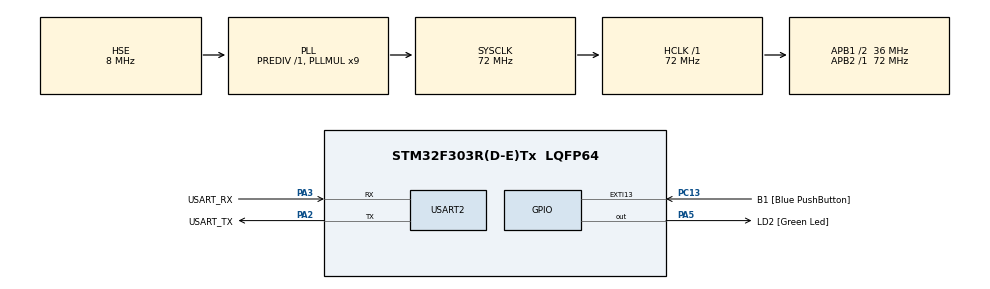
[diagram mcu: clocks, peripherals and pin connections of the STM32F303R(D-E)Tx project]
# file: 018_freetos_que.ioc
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Mcu.Family=STM32F3
RCC.PLLSourceVirtual=RCC_PLLSOURCE_HSE
PC15-OSC32_OUT.Mode=LSE-External-Oscillator
PA2.GPIO_PuPd=GPIO_NOPULL
FREERTOS.Queues01=myQueue01,16,uint16_t,0,Dynamic,NULL,NULL
RCC.CortexFreq_Value=72000000
FREERTOS.Tasks01=defaultTask,0,128,StartDefaultTask,Default,NULL,Dynamic,NULL,NULL;myTask02,0,128,StartTask02,Default,NULL,Dynamic,NULL,NULL
PC13.Signal=GPXTI13
PA14.GPIO_Label=TCK
RCC.SYSCLKSourceVirtual=RCC_SYSCLKSOURCE_PLLCLK
PA3.GPIO_PuPd=GPIO_NOPULL
PA2.GPIO_Speed=GPIO_SPEED_FREQ_LOW
PC13.GPIO_Label=B1 [Blue PushButton]
RCC.APB1CLKDivider=RCC_HCLK_DIV2
PC14-OSC32_IN.Signal=RCC_OSC32_IN
PA3.GPIO_Speed=GPIO_SPEED_FREQ_LOW
ProjectManager.StackSize=0x400
PA13.Signal=SYS_JTMS-SWDIO
PA3.Mode=Asynchronous
ProjectManager.TargetToolchain=STM32CubeIDE
PA3.GPIO_Mode=GPIO_MODE_AF_PP
RCC.HCLKFreq_Value=72000000
RCC.APB2TimFreq_Value=72000000
RCC.USBFreq_Value=72000000
PC15-OSC32_OUT.Signal=RCC_OSC32_OUT
RCC.AHBFreq_Value=72000000
PF0-OSC_IN.Mode=HSE-External-Oscillator
PA5.Signal=GPIO_Output
RCC.HSE_VALUE=8000000
board=NUCLEO-F303RE
USART2.VirtualMode-Asynchronous=VM_ASYNC
RCC.RCC_PLLsource_Clock_Source_FROM_HSE=RCC_HSE_PREDIV_DIV2
RCC.PLLMUL=RCC_PLL_MUL9
RCC.APB2Freq_Value=72000000
PC14-OSC32_IN.Mode=LSE-External-Oscillator
VP_SYS_VS_tim1.Mode=TIM1
PA5.GPIO_PuPd=GPIO_NOPULL
VP_FREERTOS_VS_CMSIS_V1.Mode=CMSIS_V1
Mcu.Name=STM32F303R(D-E)Tx
PA2.Signal=USART2_TX
PA13.GPIO_Label=TMS
PB3.Signal=SYS_JTDO-TRACESWO
RCC.SYSCLKFreq_VALUE=72000000
Mcu.Package=LQFP64
NVIC.TimeBase=TIM1_UP_TIM16_IRQn
PA5.GPIO_Label=LD2 [Green Led]
PC13.GPIO_ModeDefaultEXTI=GPIO_MODE_IT_FALLING
PA2.GPIO_Label=USART_TX
NVIC.TimeBaseIP=TIM1
PA14.Signal=SYS_JTCK-SWCLK
ProjectManager.HeapSize=0x200
RCC.HSI_VALUE=8000000
NVIC.TIM1_UP_TIM16_IRQn=true\:0\:0\:false\:false\:true\:false\:false\:true
RCC.PLLP=RCC_PLLP_DIV4
PA5.GPIO_Speed=GPIO_SPEED_FREQ_LOW
RCC.PLLQ=7
NVIC.PriorityGroup=NVIC_PRIORITYGROUP_4
RCC.PLLM=8
RCC.PLLN=336
RCC.APB1TimFreq_Value=72000000
PA2.Mode=Asynchronous
PF0-OSC_IN.Signal=RCC_OSC_IN
PF1-OSC_OUT.Mode=HSE-External-Oscillator
RCC.APB1Freq_Value=36000000
PA5.GPIO_Mode=GPIO_MODE_OUTPUT_PP
PF1-OSC_OUT.Signal=RCC_OSC_OUT
PA3.GPIO_Label=USART_RX
PA3.Signal=USART2_RX
PA2.GPIO_Mode=GPIO_MODE_AF_PP
PB3.GPIO_Label=SWO

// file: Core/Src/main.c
/* USER CODE BEGIN Header */
/**
  ******************************************************************************
  * @file           : main.c
  * @brief          : Main program body
  ******************************************************************************
  * @attention
  *
  * <h2><center>&copy; Copyright (c) 2021 STMicroelectronics.
  * All rights reserved.</center></h2>
  *
  * This software component is licensed by ST under BSD 3-Clause license,
  * the "License"; You may not use this file except in compliance with the
  * License. You may obtain a copy of the License at:
  *                        opensource.org/licenses/BSD-3-Clause
  *
  ******************************************************************************
  */
/* USER CODE END Header */
#include "main.h"
#include "cmsis_os.h"

UART_HandleTypeDef huart2;

osThreadId defaultTaskHandle;
osThreadId myTask02Handle;
osMessageQId myQueue01Handle;

void SystemClock_Config(void);
static void MX_GPIO_Init(void);
static void MX_USART2_UART_Init(void);
void StartDefaultTask(void const * argument);
void StartTask02(void const * argument);

int main(void)
{

  /* MCU Configuration--------------------------------------------------------*/

  /* Reset of all peripherals, Initializes the Flash interface and the Systick. */
  HAL_Init();

  /* Configure the system clock */
  SystemClock_Config();

  /* Initialize all configured peripherals */
  MX_GPIO_Init();
  MX_USART2_UART_Init();

  /* Create the queue(s) */
  /* definition and creation of myQueue01 */
  osMessageQDef(myQueue01, 16, uint16_t);
  myQueue01Handle = osMessageCreate(osMessageQ(myQueue01), NULL);

  /* Create the thread(s) */
  /* definition and creation of defaultTask */
  osThreadDef(defaultTask, StartDefaultTask, osPriorityNormal, 0, 128);
  defaultTaskHandle = osThreadCreate(osThread(defaultTask), NULL);

  /* definition and creation of myTask02 */
  osThreadDef(myTask02, StartTask02, osPriorityNormal, 0, 128);
  myTask02Handle = osThreadCreate(osThread(myTask02), NULL);

  /* Start scheduler */
  osKernelStart();

  /* We should never get here as control is now taken by the scheduler */
  /* Infinite loop */
  while (1)
  {

  }
}

void SystemClock_Config(void)
{
  RCC_OscInitTypeDef RCC_OscInitStruct = {0};
  RCC_ClkInitTypeDef RCC_ClkInitStruct = {0};
  RCC_PeriphCLKInitTypeDef PeriphClkInit = {0};

  /** Initializes the RCC Oscillators according to the specified parameters
  * in the RCC_OscInitTypeDef structure.
  */
  RCC_OscInitStruct.OscillatorType = RCC_OSCILLATORTYPE_HSE;
  RCC_OscInitStruct.HSEState = RCC_HSE_ON;
  RCC_OscInitStruct.HSIState = RCC_HSI_ON;
  RCC_OscInitStruct.PLL.PLLState = RCC_PLL_ON;
  RCC_OscInitStruct.PLL.PLLSource = RCC_PLLSOURCE_HSE;
  RCC_OscInitStruct.PLL.PLLMUL = RCC_PLL_MUL9;
  RCC_OscInitStruct.PLL.PREDIV = RCC_PREDIV_DIV1;
  if (HAL_RCC_OscConfig(&RCC_OscInitStruct) != HAL_OK)
  {
    Error_Handler();
  }
  /** Initializes the CPU, AHB and APB buses clocks
  */
  RCC_ClkInitStruct.ClockType = RCC_CLOCKTYPE_HCLK|RCC_CLOCKTYPE_SYSCLK
                              |RCC_CLOCKTYPE_PCLK1|RCC_CLOCKTYPE_PCLK2;
  RCC_ClkInitStruct.SYSCLKSource = RCC_SYSCLKSOURCE_PLLCLK;
  RCC_ClkInitStruct.AHBCLKDivider = RCC_SYSCLK_DIV1;
  RCC_ClkInitStruct.APB1CLKDivider = RCC_HCLK_DIV2;
  RCC_ClkInitStruct.APB2CLKDivider = RCC_HCLK_DIV1;

  if (HAL_RCC_ClockConfig(&RCC_ClkInitStruct, FLASH_LATENCY_2) != HAL_OK)
  {
    Error_Handler();
  }
  PeriphClkInit.PeriphClockSelection = RCC_PERIPHCLK_USART2;
  PeriphClkInit.Usart2ClockSelection = RCC_USART2CLKSOURCE_PCLK1;
  if (HAL_RCCEx_PeriphCLKConfig(&PeriphClkInit) != HAL_OK)
  {
    Error_Handler();
  }
}

static void MX_USART2_UART_Init(void)
{

  huart2.Instance = USART2;
  huart2.Init.BaudRate = 38400;
  huart2.Init.WordLength = UART_WORDLENGTH_8B;
  huart2.Init.StopBits = UART_STOPBITS_1;
  huart2.Init.Parity = UART_PARITY_NONE;
  huart2.Init.Mode = UART_MODE_TX_RX;
  huart2.Init.HwFlowCtl = UART_HWCONTROL_NONE;
  huart2.Init.OverSampling = UART_OVERSAMPLING_16;
  huart2.Init.OneBitSampling = UART_ONE_BIT_SAMPLE_DISABLE;
  huart2.AdvancedInit.AdvFeatureInit = UART_ADVFEATURE_NO_INIT;
  if (HAL_UART_Init(&huart2) != HAL_OK)
  {
    Error_Handler();
  }

}

static void MX_GPIO_Init(void)
{
  GPIO_InitTypeDef GPIO_InitStruct = {0};

  /* GPIO Ports Clock Enable */
  __HAL_RCC_GPIOC_CLK_ENABLE();
  __HAL_RCC_GPIOF_CLK_ENABLE();
  __HAL_RCC_GPIOA_CLK_ENABLE();
  __HAL_RCC_GPIOB_CLK_ENABLE();

  /*Configure GPIO pin Output Level */
  HAL_GPIO_WritePin(LD2_GPIO_Port, LD2_Pin, GPIO_PIN_RESET);

  /*Configure GPIO pin : B1_Pin */
  GPIO_InitStruct.Pin = B1_Pin;
  GPIO_InitStruct.Mode = GPIO_MODE_IT_FALLING;
  GPIO_InitStruct.Pull = GPIO_NOPULL;
  HAL_GPIO_Init(B1_GPIO_Port, &GPIO_InitStruct);

  /*Configure GPIO pin : LD2_Pin */
  GPIO_InitStruct.Pin = LD2_Pin;
  GPIO_InitStruct.Mode = GPIO_MODE_OUTPUT_PP;
  GPIO_InitStruct.Pull = GPIO_NOPULL;
  GPIO_InitStruct.Speed = GPIO_SPEED_FREQ_LOW;
  HAL_GPIO_Init(LD2_GPIO_Port, &GPIO_InitStruct);

}

void StartDefaultTask(void const * argument)
{
  /* USER CODE BEGIN 5 */
	osEvent evt;
	char buffer[15];
  /* Infinite loop */
  for(;;)
  {
	 evt=osMessageGet(myQueue01Handle, 1000);
	 if(evt.status==osEventMessage)
	 {
		 sprintf(buffer,"veri geldi:%d\n",(int)evt.value.p);
		 HAL_UART_Transmit(&huart2, buffer, sizeof(buffer), 1000);
		 HAL_Delay(100);
	 }
	 else
	 {
		 char* data="veri yok";
		 HAL_UART_Transmit(&huart2, data, sizeof(data), 1000);
		 HAL_Delay(100);
	 }

  }
  /* USER CODE END 5 */
}

void StartTask02(void const * argument)
{
  /* USER CODE BEGIN StartTask02 */
	uint16_t veri=0;
  /* Infinite loop */
  for(;;)
  {
	  veri++;
	  osMessagePut(myQueue01Handle,(uint16_t)veri, 100);
	  HAL_Delay(1000);

  }
  /* USER CODE END StartTask02 */
}

 /**
  * @brief  Period elapsed callback in non blocking mode
  * @note   This function is called  when TIM1 interrupt took place, inside
  * HAL_TIM_IRQHandler(). It makes a direct call to HAL_IncTick() to increment
  * a global variable "uwTick" used as application time base.
  * @param  htim : TIM handle
  * @retval None
  */
void HAL_TIM_PeriodElapsedCallback(TIM_HandleTypeDef *htim)
{
  if (htim->Instance == TIM1) {
    HAL_IncTick();
  }
}

void Error_Handler(void)
{
  __disable_irq();
  while (1)
  {
  }
}

/************************ (C) COPYRIGHT STMicroelectronics *****END OF FILE****/
